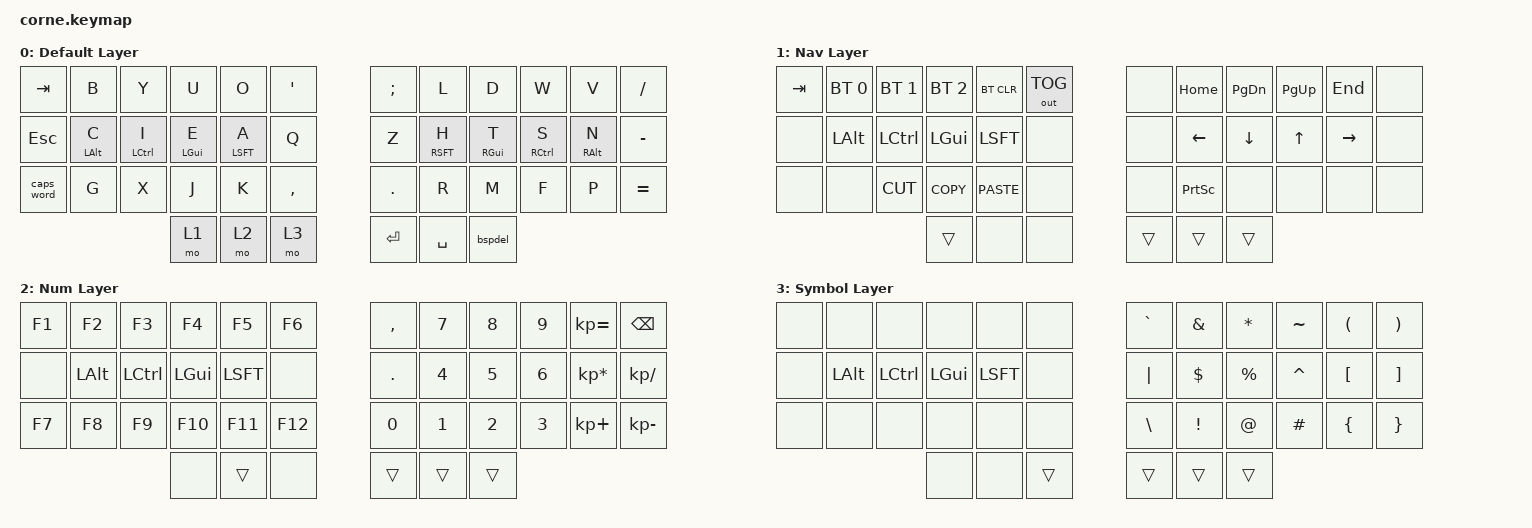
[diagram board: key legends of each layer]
/*
 * Copyright (c) 2020 The ZMK Contributors
 *
 * SPDX-License-Identifier: MIT
 */

#include <behaviors.dtsi>
#include <dt-bindings/zmk/keys.h>
#include <dt-bindings/zmk/bt.h>
#include <dt-bindings/zmk/outputs.h>

/ {
    behaviors {
        lh_pht: left_positional_hold_tap {
            compatible = "zmk,behavior-hold-tap";
            #binding-cells = <2>;
            flavor = "balanced";
            tapping-term-ms = <300>;
            quick-tap-ms = <200>;
            require-prior-idle-ms = <150>;
            bindings = <&kp>, <&kp>;
            hold-trigger-key-positions = <6 7 8 9 10 11 18 19 20 21 22 23 30 31 32 33 34 35 36 37 38 39 40 41>;
            hold-trigger-on-release;
        };
        rh_pht: right_positional_hold_tap {
            compatible = "zmk,behavior-hold-tap";
            #binding-cells = <2>;
            flavor = "balanced";
            tapping-term-ms = <300>;
            quick-tap-ms = <200>;
            require-prior-idle-ms = <150>;
            bindings = <&kp>, <&kp>;
            hold-trigger-key-positions = <0 1 2 3 4 5 12 13 14 15 16 17 24 25 26 27 28 29 36 37 38 39 40 41>;
            hold-trigger-on-release;
        };
        bspdel: backspace_delete {
            compatible = "zmk,behavior-mod-morph";
            #binding-cells = <0>;
            bindings = <&kp BACKSPACE>, <&kp DELETE>;
            mods = <(MOD_LGUI)>;
        };
    };

        keymap {
                compatible = "zmk,keymap";

                default_layer {
                        display-name = "Default Layer";
                        bindings = <
// ╭───────────┬──────────────┬──────────────┬──────────────┬──────────────┬────╮╭──────────┬──────────────┬──────────────┬──────────────┬──────────────┬────────╮
// │ TAB       │ B            │ Y            │ U            │ O            │ '  ││ ;        │ L            │ D            │ W            │ V            │ /      │
// ╰───────────┴──────────────┴──────────────┴──────────────┴──────────────┴────╯╰──────────┴──────────────┴──────────────┴──────────────┴──────────────┴────────╯
   &kp TAB     &kp B        &kp Y      &kp U        &kp O          &kp SQT        &kp SEMI      &kp L          &kp D          &kp W          &kp V          &kp FSLH
// ╭───────────┬──────────────┬──────────────┬──────────────┬──────────────┬────╮╭──────────┬──────────────┬──────────────┬──────────────┬──────────────┬────────╮
// │ ESCAPE    │ C / ALT      │ I / CTRL     │ E / SUPER    │ A / SHIFT    │ Q  ││ Z        │ H / SHIFT    │ T / SUPER    │ S / CTRL     │ N / ALT      │ -      │
// ╰───────────┴──────────────┴──────────────┴──────────────┴──────────────┴────╯╰──────────┴──────────────┴──────────────┴──────────────┴──────────────┴────────╯
   &kp ESC     &lh_pht LALT C &lh_pht LCTL I &lh_pht LGUI E &lh_pht LSFT A &kp Q &kp Z      &rh_pht RSFT H &rh_pht RGUI T &rh_pht RCTL S &rh_pht RALT N &kp MINUS
// ╭───────────┬──────────────┬──────────────┬──────────────┬──────────────┬────╮╭──────────┬──────────────┬──────────────┬──────────────┬──────────────┬────────╮
// │ CAPS WORD │ G            │ X            │ J            │ K            │ ,  ││ .        │ R            │ M            │ F            │ P            │ =      │
// ╰───────────┴──────────────┴──────────────┴──────────────┴──────────────┴────╯╰──────────┴──────────────┴──────────────┴──────────────┴──────────────┴────────╯
   &caps_word  &kp G       &kp X          &kp J          &kp K          &kp COMMA &kp DOT      &kp R          &kp M          &kp F          &kp P          &kp EQUAL
//                                          ╭──────────────┬──────────────┬─────╮╭──────────┬──────────────┬──────────────╮
//                                          │ nav          │ num          │ sym ││ ENTER    │ SPACE        │ BKSPC / DEL  │
//                                          ╰──────────────┴──────────────┴─────╯╰──────────┴──────────────┴──────────────╯
                                            &mo 1          &mo 2          &mo 3   &kp ENTER &kp SPACE        &bspdel
                        >;
                };
                nav_layer {
                        display-name = "Nav Layer";
                        bindings = <
// ╭───────┬────────────┬────────────┬────────────┬──────────┬───────────╮╭─────┬────────┬─────────┬─────────┬─────────┬───╮
// │ TAB   │BT PROFILE 0│BT PROFILE 1│BT PROFILE 2│ BT CLEAR │TOGGLE OUT ││     │ HOME   │ PG DOWN │ PG UP   │ END     │   │
// ╰───────┴────────────┴────────────┴────────────┴──────────┴───────────╯╰─────┴────────┴─────────┴─────────┴─────────┴───╯
   &kp TAB &bt BT_SEL 0 &bt BT_SEL 1 &bt BT_SEL 2 &bt BT_CLR &out OUT_TOG &none &kp HOME &kp PG_DN &kp PG_UP &kp END   &none
// ╭───────┬────────────┬────────────┬────────────┬──────────┬───────────╮╭─────┬────────┬─────────┬─────────┬─────────┬───╮
// │       │ ALT        │ CTRL       │ SUPER      │ SHIFT    │           ││     │ LEFT   │ DOWN    │ UP      │ RIGHT   │   │
// ╰───────┴────────────┴────────────┴────────────┴──────────┴───────────╯╰─────┴────────┴─────────┴─────────┴─────────┴───╯
   &none   &kp LALT     &kp LCTL     &kp LGUI     &kp LSFT    &none       &none &kp LEFT &kp DOWN  &kp UP    &kp RIGHT &none
// ╭───────┬────────────┬────────────┬────────────┬──────────┬───────────╮╭─────┬────────┬─────────┬─────────┬─────────┬───╮
// │       │            │ CUT        │ COPY       │ PASTE    │           ││     │PRN SCR │         │         │         │   │
// ╰───────┴────────────┴────────────┴────────────┴──────────┴───────────╯╰─────┴────────┴─────────┴─────────┴─────────┴───╯
   &none   &none    &kp K_CUT &kp K_COPY &kp K_PASTE &none  &none   &kp PSCRN &none     &none     &none     &none
//                            ╭──────────┬───────────┬─────╮╭───────┬─────────┬─────────────╮
//                            │ nav      │           │     ││ ENTER │ SPACE   │ BKSPC / DEL │
//                            ╰──────────┴───────────┴─────╯╰───────┴─────────┴─────────────╯
                              &trans     &none       &none  &trans  &trans    &trans
                        >;
                };

                num_layer {
                        display-name = "Num Layer";
                        bindings = <
// ╭──────┬────────┬────────┬────────┬────────┬───────╮╭─────────┬──────┬──────┬───────┬─────────────┬───────────╮
// │ F1   │ F2     │ F3     │ F4     │ F5     │ F6    ││ ,       │ 7    │ 8    │ 9     │ =           │ BACKSPACE │
// ╰──────┴────────┴────────┴────────┴────────┴───────╯╰─────────┴──────┴──────┴───────┴─────────────┴───────────╯
   &kp F1 &kp F2   &kp F3   &kp F4   &kp F5   &kp F6   &kp COMMA &kp N7 &kp N8  &kp N9 &kp KP_EQUAL  &kp BSPC
// ╭──────┬────────┬────────┬────────┬────────┬───────╮╭─────────┬──────┬──────┬───────┬─────────────┬───────────╮
// │      │ ALT    │ CTRL   │ SUPER  │ SHIFT  │       ││ .       │ 4    │ 5    │ 6     │ *           │ /         │
// ╰──────┴────────┴────────┴────────┴────────┴───────╯╰─────────┴──────┴──────┴───────┴─────────────┴───────────╯
   &none  &kp LALT &kp LCTL &kp LGUI &kp LSFT &none    &kp DOT   &kp N4 &kp N5  &kp N6 &kp KP_MULTIPLY &kp KP_DIVIDE
// ╭──────┬────────┬────────┬────────┬────────┬───────╮╭─────────┬──────┬──────┬───────┬─────────────┬───────────╮
// │ F7   │ F8     │ F9     │ F10    │ F11    │ F12   ││ 0       │ 1    │ 2    │ 3     │ +           │ -         │
// ╰──────┴────────┴────────┴────────┴────────┴───────╯╰─────────┴──────┴──────┴───────┴─────────────┴───────────╯
   &kp F7 &kp F8   &kp F9   &kp F10  &kp F11  &kp F12  &kp N0    &kp N1 &kp N2  &kp N3 &kp KP_PLUS   &kp KP_MINUS
//                          ╭────────┬────────┬───────╮╭─────────┬──────┬──────╮
//                          │        │ num    │       ││         │      │      │
//                          ╰────────┴────────┴───────╯╰─────────┴──────┴──────╯
                            &none    &trans   &none    &trans    &trans &trans
                        >;
                };
                symbol_layer {
                        display-name = "Symbol Layer";
                        bindings = <
// ╭─────┬────────┬───────┬────────┬─────────┬────────╮╭─────────┬────────┬────────┬─────────┬─────────┬───────╮
// │     │        │       │        │         │        ││ `       │ &      │ *      │ ~       │ (       │ )     │
// ╰─────┴────────┴───────┴────────┴─────────┴────────╯╰─────────┴────────┴────────┴─────────┴─────────┴───────╯
   &none &none    &none   &none    &none     &none     &kp GRAVE &kp AMPS &kp STAR &kp TILDE &kp LPAR  &kp RPAR
// ╭─────┬────────┬───────┬────────┬─────────┬────────╮╭─────────┬────────┬────────┬─────────┬─────────┬───────╮
// │     │ ALT    │ CTRL  │ SUPER  │ SHIFT   │        ││ |       │ $      │ %      │ ^       │ [       │ ]     │
// ╰─────┴────────┴───────┴────────┴─────────┴────────╯╰─────────┴────────┴────────┴─────────┴─────────┴───────╯
   &none &kp LALT &kp LCTL &kp LGUI &kp LSFT &none     &kp PIPE  &kp DLLR &kp PRCNT &kp CARET &kp LBKT &kp RBKT
// ╭─────┬───────┬────────┬────────┬─────────┬────────╮╭─────────┬────────┬────────┬─────────┬─────────┬───────╮
// │     │       │        │        │         │        ││ \       │ !      │ @      │ #       │ {       │ }     │
// ╰─────┴───────┴────────┴────────┴─────────┴────────╯╰─────────┴────────┴────────┴─────────┴─────────┴───────╯
   &none &none   &none    &none    &none     &none     &kp BSLH  &kp EXCL &kp AT   &kp HASH  &kp LBRC  &kp RBRC
//                        ╭────────┬─────────┬────────╮╭─────────┬────────┬────────╮
//                        │        │         │ sym    ││ ENTER   │ SPACE  │        │
//                        ╰────────┴─────────┴────────╯╰─────────┴────────┴────────╯
                          &none    &none     &trans    &trans    &trans   &trans
                        >;
                };
        };
};
